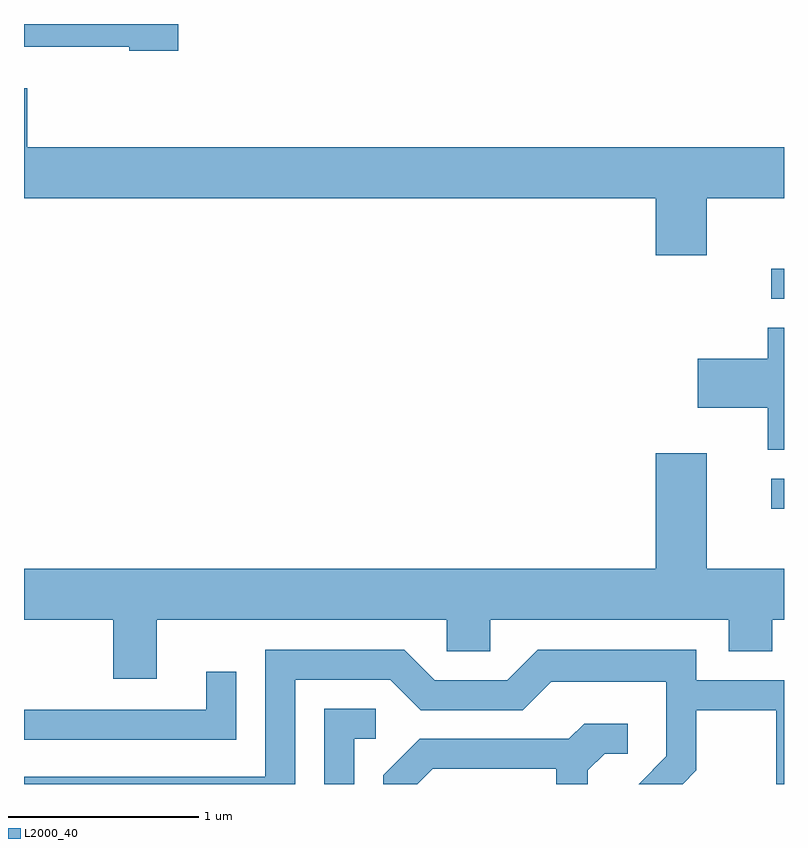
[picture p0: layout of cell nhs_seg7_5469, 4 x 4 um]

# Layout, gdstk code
import gdstk
lib = gdstk.Library(unit=1e-6, precision=1e-09)
def R(c, l, rs):  # rectangles x0, y0, x1, y1
    for r in rs: c.add(gdstk.rectangle(r[:2], r[2:], *l))
def P(c, l, *ps):  # polygons
    for p in ps: c.add(gdstk.Polygon(p, *l))
L2000_40 = (2000, 40)

nhs_seg7_5469 = lib.new_cell('nhs_seg7_5469')
R(nhs_seg7_5469, L2000_40, [(355.543,1803.701,355.611,1803.859), (355.543,1804.806,355.611,1804.964)])
P(nhs_seg7_5469, L2000_40, [(352.424,1806.252),(351.611,1806.252),(351.611,1806.131),(352.166,1806.131),(352.166,1806.111),(352.424,1806.111)],
  [(355.204,1805.336),(355.611,1805.336),(355.611,1805.604),(351.629,1805.604),(351.629,1805.914),(351.611,1805.914),(351.611,1805.336),(354.936,1805.336),(354.936,1805.036),(355.204,1805.036)],
  [(355.611,1804.654),(355.526,1804.654),(355.526,1804.489),(355.156,1804.489),(355.156,1804.231),(355.526,1804.231),(355.526,1804.011),(355.611,1804.011)],
  [(352.309,1803.116),(353.836,1803.116),(353.836,1802.951),(354.064,1802.951),(354.064,1803.116),(355.321,1803.116),(355.321,1802.951),(355.549,1802.951),(355.549,1803.116),(355.611,1803.116),(355.611,1803.384),(355.204,1803.384),(355.204,1803.994),(354.936,1803.994),(354.936,1803.384),(351.611,1803.384),(351.611,1803.116),(352.081,1803.116),(352.081,1802.806),(352.309,1802.806)],
  [(353.039,1802.801),(353.539,1802.801),(353.699,1802.641),(354.237,1802.641),(354.387,1802.791),(354.991,1802.791),(354.991,1802.397),(354.846,1802.252),(355.077,1802.252),(355.149,1802.324),(355.149,1802.641),(355.571,1802.641),(355.571,1802.252),(355.611,1802.252),(355.611,1802.799),(355.149,1802.799),(355.149,1802.959),(354.314,1802.959),(354.154,1802.799),(353.772,1802.799),(353.612,1802.959),(352.881,1802.959),(352.881,1802.289),(351.611,1802.289),(351.611,1802.252),(353.039,1802.252)],
  [(352.729,1802.843),(352.571,1802.843),(352.571,1802.644),(351.611,1802.644),(351.611,1802.486),(352.729,1802.486)],
  [(353.349,1802.491),(353.463,1802.491),(353.463,1802.649),(353.191,1802.649),(353.191,1802.252),(353.349,1802.252)],
  [(353.762,1802.331),(354.411,1802.331),(354.411,1802.252),(354.579,1802.252),(354.579,1802.324),(354.667,1802.411),(354.788,1802.411),(354.788,1802.569),(354.559,1802.569),(354.479,1802.489),(353.694,1802.489),(353.501,1802.297),(353.501,1802.252),(353.682,1802.252)])

lib.write_gds('nhs_seg7_5469.gds')
